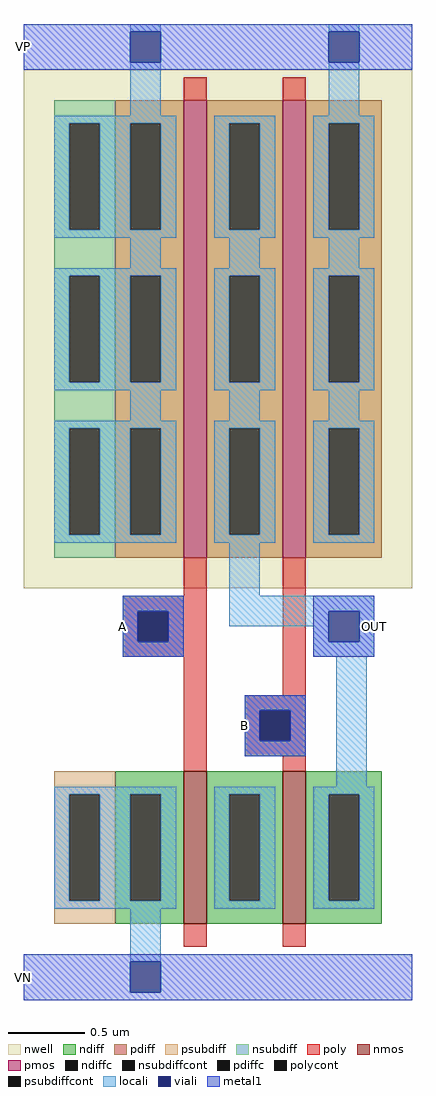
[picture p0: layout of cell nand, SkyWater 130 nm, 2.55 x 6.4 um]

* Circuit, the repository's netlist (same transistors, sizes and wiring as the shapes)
** sch_path: /foss/designs/APIC_Mux_DFF/basic_cell/single_cell/nand/nand.sch
.subckt nand VP OUT B A VN
*.PININFO A:I B:I OUT:O VN:I VP:I
XM4 OUT B net1 VN sky130_fd_pr__nfet_01v8 L=0.15 W=1 nf=1 m=1
XM3 net1 A VN VN sky130_fd_pr__nfet_01v8 L=0.15 W=1 nf=1 m=1
XM1 OUT B VP VP sky130_fd_pr__pfet_01v8 L=0.15 W=3 nf=1 m=1
XM2 OUT A VP VP sky130_fd_pr__pfet_01v8 L=0.15 W=3 nf=1 m=1
.ends

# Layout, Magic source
magic
tech sky130A
<< nwell >>
rect -105 220 150 560
<< nmos >>
rect 0 0 15 100
rect 65 0 80 100
<< pmos >>
rect 0 240 15 540
rect 65 240 80 540
<< ndiff >>
rect -45 85 0 100
rect -45 15 -35 85
rect -15 15 0 85
rect -45 0 0 15
rect 15 85 65 100
rect 15 15 30 85
rect 50 15 65 85
rect 15 0 65 15
rect 80 85 130 100
rect 80 15 95 85
rect 115 15 130 85
rect 80 0 130 15
<< pdiff >>
rect -45 525 0 540
rect -45 455 -35 525
rect -15 455 0 525
rect -45 425 0 455
rect -45 355 -35 425
rect -15 355 0 425
rect -45 325 0 355
rect -45 255 -35 325
rect -15 255 0 325
rect -45 240 0 255
rect 15 525 65 540
rect 15 455 30 525
rect 50 455 65 525
rect 15 425 65 455
rect 15 355 30 425
rect 50 355 65 425
rect 15 325 65 355
rect 15 255 30 325
rect 50 255 65 325
rect 15 240 65 255
rect 80 525 130 540
rect 80 455 95 525
rect 115 455 130 525
rect 80 425 130 455
rect 80 355 95 425
rect 115 355 130 425
rect 80 325 130 355
rect 80 255 95 325
rect 115 255 130 325
rect 80 240 130 255
<< ndiffc >>
rect -35 15 -15 85
rect 30 15 50 85
rect 95 15 115 85
<< pdiffc >>
rect -35 455 -15 525
rect -35 355 -15 425
rect -35 255 -15 325
rect 30 455 50 525
rect 30 355 50 425
rect 30 255 50 325
rect 95 455 115 525
rect 95 355 115 425
rect 95 255 115 325
<< psubdiff >>
rect -85 85 -45 100
rect -85 15 -75 85
rect -55 15 -45 85
rect -85 0 -45 15
<< nsubdiff >>
rect -85 525 -45 540
rect -85 455 -75 525
rect -55 455 -45 525
rect -85 425 -45 455
rect -85 355 -75 425
rect -55 355 -45 425
rect -85 325 -45 355
rect -85 255 -75 325
rect -55 255 -45 325
rect -85 240 -45 255
<< psubdiffcont >>
rect -75 15 -55 85
<< nsubdiffcont >>
rect -75 455 -55 525
rect -75 355 -55 425
rect -75 255 -55 325
<< poly >>
rect 0 540 15 555
rect 65 540 80 555
rect 0 215 15 240
rect -40 205 15 215
rect -40 185 -30 205
rect -10 185 15 205
rect -40 175 15 185
rect 0 100 15 175
rect 65 150 80 240
rect 40 140 80 150
rect 40 120 50 140
rect 70 120 80 140
rect 40 110 80 120
rect 65 100 80 110
rect 0 -15 15 0
rect 65 -15 80 0
<< polycont >>
rect -30 185 -10 205
rect 50 120 70 140
<< locali >>
rect -35 585 -15 590
rect -35 530 -15 565
rect 95 585 115 590
rect 95 530 115 565
rect -85 525 -5 530
rect -85 455 -75 525
rect -55 455 -35 525
rect -15 455 -5 525
rect -85 450 -5 455
rect 20 525 60 530
rect 20 455 30 525
rect 50 455 60 525
rect 20 450 60 455
rect 85 525 125 530
rect 85 455 95 525
rect 115 455 125 525
rect 85 450 125 455
rect -35 430 -15 450
rect 30 430 50 450
rect 95 430 115 450
rect -85 425 -5 430
rect -85 355 -75 425
rect -55 355 -35 425
rect -15 355 -5 425
rect -85 350 -5 355
rect 20 425 60 430
rect 20 355 30 425
rect 50 355 60 425
rect 20 350 60 355
rect 85 425 125 430
rect 85 355 95 425
rect 115 355 125 425
rect 85 350 125 355
rect -35 330 -15 350
rect 30 330 50 350
rect 95 330 115 350
rect -85 325 -5 330
rect -85 255 -75 325
rect -55 255 -35 325
rect -15 255 -5 325
rect -85 250 -5 255
rect 20 325 60 330
rect 20 255 30 325
rect 50 255 60 325
rect 20 250 60 255
rect 85 325 125 330
rect 85 255 95 325
rect 115 255 125 325
rect 85 250 125 255
rect 30 215 50 250
rect -40 205 0 215
rect -40 185 -30 205
rect -10 185 0 205
rect 30 205 125 215
rect 30 195 95 205
rect -40 175 0 185
rect 85 185 95 195
rect 115 185 125 205
rect 85 175 125 185
rect 40 140 80 150
rect 40 120 50 140
rect 70 120 80 140
rect 40 110 80 120
rect 100 90 120 175
rect -85 85 -5 90
rect -85 15 -75 85
rect -55 15 -35 85
rect -15 15 -5 85
rect -85 10 -5 15
rect 20 85 60 90
rect 20 15 30 85
rect 50 15 60 85
rect 20 10 60 15
rect 85 85 125 90
rect 85 15 95 85
rect 115 15 125 85
rect 85 10 125 15
rect -35 -25 -15 10
<< viali >>
rect -35 565 -15 585
rect 95 565 115 585
rect -30 185 -10 205
rect 95 185 115 205
rect 50 120 70 140
rect -35 -45 -15 -25
<< metal1 >>
rect -105 585 150 590
rect -105 565 -35 585
rect -15 565 95 585
rect 115 565 150 585
rect -105 560 150 565
rect -40 205 0 215
rect -40 185 -30 205
rect -10 185 0 205
rect -40 175 0 185
rect 85 205 125 215
rect 85 185 95 205
rect 115 185 125 205
rect 85 175 125 185
rect 40 140 80 150
rect 40 120 50 140
rect 70 120 80 140
rect 40 110 80 120
rect -105 -25 150 -20
rect -105 -45 -35 -25
rect -15 -45 150 -25
rect -105 -50 150 -45
<< labels >>
flabel metal1 -40 175 -40 215 1 FreeSans 200 0 0 0 A
port 1 n
flabel metal1 40 110 40 150 1 FreeSans 200 0 0 0 B
port 2 n
flabel metal1 125 175 125 215 1 FreeSans 200 0 0 0 OUT
port 3 n
flabel metal1 -105 560 -105 590 3 FreeSans 200 0 0 0 VP
port 4 e
flabel metal1 -105 -50 -105 -20 3 FreeSans 200 0 0 0 VN
port 5 e
<< end >>
